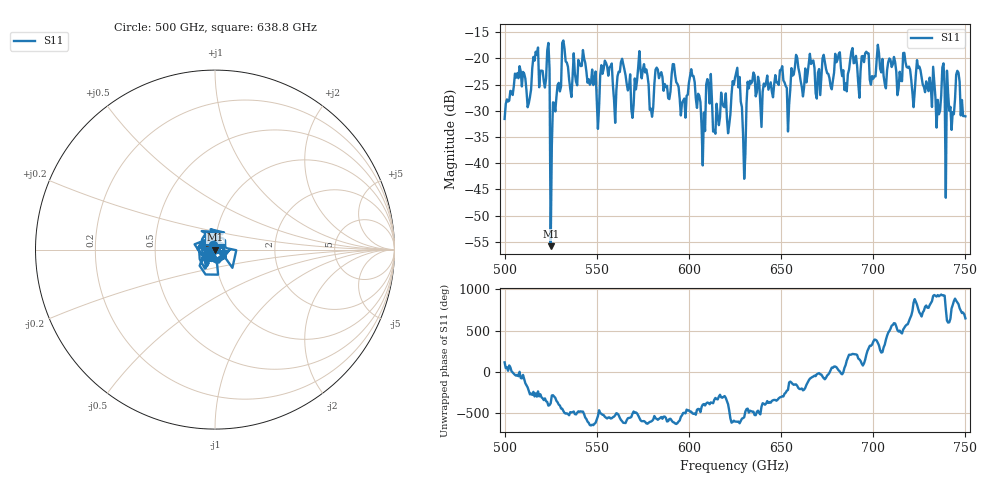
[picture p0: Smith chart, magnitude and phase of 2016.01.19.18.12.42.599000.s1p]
!Created with skrf (http://scikit-rf.org).
# GHz S RI R 50.0
!freq ReS11 ImS11
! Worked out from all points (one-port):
!   401 points, 500 GHz to 750 GHz, reference 50 ohm
!   lowest |S11| = -55.8 dB at 525 GHz (marker M1), VSWR 1.00, Z = 50.2 - j0.0493 ohm
!   |S11| at or under -10 dB: start of sweep to end of sweep
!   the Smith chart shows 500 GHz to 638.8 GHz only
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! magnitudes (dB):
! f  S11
! 500 GHz  -31.5
! 506.9 GHz  -22.8
! 513.1 GHz  -28.5
! 516.9 GHz  -18.7
! 523.1 GHz  -18.5
! 525 GHz  -55.8
! 526.2 GHz  -28.4
! 531.2 GHz  -17.0
! 550 GHz  -27.8
! 562.5 GHz  -22.6
! 570 GHz  -28.9
! 576.2 GHz  -22.7
! 579.4 GHz  -29.6
! 583.1 GHz  -22.1
! 593.8 GHz  -24.9
! 601.9 GHz  -23.3
! 607.5 GHz  -40.4
! 610.6 GHz  -24.9
! 614.4 GHz  -34.4
! 625 GHz  -23.7
! 630 GHz  -43.0
! 634.4 GHz  -24.4
! 656.2 GHz  -23.3
! 687.5 GHz  -20.3
! 718.8 GHz  -21.8
! 740.6 GHz  -26.6
! 745.6 GHz  -22.4
! 750 GHz  -31.1
